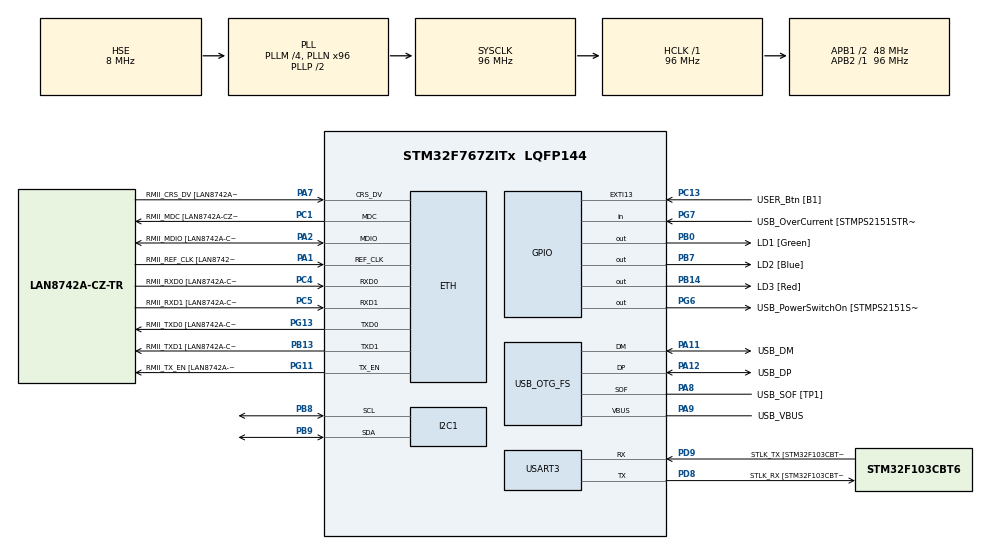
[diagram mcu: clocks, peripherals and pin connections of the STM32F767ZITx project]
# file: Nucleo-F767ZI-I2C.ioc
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ETH.MediaInterface=ETH_MEDIA_INTERFACE_RMII
ETH.PHY_Name=LAN8742A_PHY_ADDRESS
ETH.PHY_Value=0
ETH.PhyAddress=0
I2C1.Timing=0x20303E5D
Mcu.Family=STM32F7
Mcu.Name=STM32F767ZITx
Mcu.Package=LQFP144
NVIC.PriorityGroup=NVIC_PRIORITYGROUP_4
PA1.GPIO_Label=RMII_REF_CLK [LAN8742A-CZ-TR_REFCLK0]
PA1.Mode=RMII
PA1.Signal=ETH_REF_CLK
PA10.GPIO_Label=USB_ID
PA10.Signal=USB_OTG_FS_ID
PA11.GPIO_Label=USB_DM
PA11.Mode=Device_Only
PA11.Signal=USB_OTG_FS_DM
PA12.GPIO_Label=USB_DP
PA12.Mode=Device_Only
PA12.Signal=USB_OTG_FS_DP
PA13.GPIO_Label=TMS
PA13.Mode=Serial_Wire
PA13.Signal=SYS_JTMS-SWDIO
PA14.GPIO_Label=TCK
PA14.Mode=Serial_Wire
PA14.Signal=SYS_JTCK-SWCLK
PA2.GPIO_Label=RMII_MDIO [LAN8742A-CZ-TR_MDIO]
PA2.Mode=RMII
PA2.Signal=ETH_MDIO
PA7.GPIO_Label=RMII_CRS_DV [LAN8742A-CZ-TR_CRS_DV]
PA7.Mode=RMII
PA7.Signal=ETH_CRS_DV
PA8.GPIO_Label=USB_SOF [TP1]
PA8.Mode=Activate_SOF_FS
PA8.Signal=USB_OTG_FS_SOF
PA9.GPIO_Label=USB_VBUS
PA9.Mode=Activate_VBUS
PA9.Signal=USB_OTG_FS_VBUS
PB0.GPIO_Label=LD1 [Green]
PB0.Signal=GPIO_Output
PB13.GPIO_Label=RMII_TXD1 [LAN8742A-CZ-TR_TXD1]
PB13.Mode=RMII
PB13.Signal=ETH_TXD1
PB14.GPIO_Label=LD3 [Red]
PB14.Signal=GPIO_Output
PB3.GPIO_Label=SWO
PB3.Signal=SYS_JTDO-SWO
PB7.GPIO_Label=LD2 [Blue]
PB7.Signal=GPIO_Output
PB8.Mode=I2C
PB8.Signal=I2C1_SCL
PB9.Mode=I2C
PB9.Signal=I2C1_SDA
PC1.GPIO_Label=RMII_MDC [LAN8742A-CZ-TR_MDC]
PC1.Mode=RMII
PC1.Signal=ETH_MDC
PC13.GPIO_Label=USER_Btn [B1]
PC13.Signal=GPXTI13
PC14/OSC32_IN.Mode=LSE-External-Oscillator
PC14/OSC32_IN.Signal=RCC_OSC32_IN
PC15/OSC32_OUT.Mode=LSE-External-Oscillator
PC15/OSC32_OUT.Signal=RCC_OSC32_OUT
PC4.GPIO_Label=RMII_RXD0 [LAN8742A-CZ-TR_RXD0]
PC4.Mode=RMII
PC4.Signal=ETH_RXD0
PC5.GPIO_Label=RMII_RXD1 [LAN8742A-CZ-TR_RXD1]
PC5.Mode=RMII
PC5.Signal=ETH_RXD1
PD8.GPIO_Label=STLK_RX [STM32F103CBT6_PA3]
PD8.Mode=Asynchronous
PD8.Signal=USART3_TX
PD9.GPIO_Label=STLK_TX [STM32F103CBT6_PA2]
PD9.Mode=Asynchronous
PD9.Signal=USART3_RX
PG11.GPIO_Label=RMII_TX_EN [LAN8742A-CZ-TR_TXEN]
PG11.Mode=RMII
PG11.Signal=ETH_TX_EN
PG13.GPIO_Label=RMII_TXD0 [LAN8742A-CZ-TR_TXD0]
PG13.Mode=RMII
PG13.Signal=ETH_TXD0
PG6.GPIO_Label=USB_PowerSwitchOn [STMPS2151STR_EN]
PG6.Signal=GPIO_Output
PG7.GPIO_Label=USB_OverCurrent [STMPS2151STR_FAULT]
PG7.Signal=GPIO_Input
PH0/OSC_IN.GPIO_Label=MCO [STM32F103CBT6_PA8]
PH0/OSC_IN.Mode=HSE-External-Clock-Source
PH0/OSC_IN.Signal=RCC_OSC_IN
PH1/OSC_OUT.Mode=HSE-External-Clock-Source
PH1/OSC_OUT.Signal=RCC_OSC_OUT
ProjectManager.HeapSize=0x200
ProjectManager.StackSize=0x400
ProjectManager.TargetToolchain=STM32CubeIDE
RCC.48MHZClocksFreq_Value=24000000
RCC.AHBFreq_Value=96000000
RCC.APB1CLKDivider=RCC_HCLK_DIV2
RCC.APB1Freq_Value=48000000
RCC.APB1TimFreq_Value=96000000
RCC.APB2Freq_Value=96000000
RCC.APB2TimFreq_Value=96000000
RCC.CortexFreq_Value=96000000
RCC.HCLKFreq_Value=96000000
RCC.HSE_VALUE=8000000
RCC.HSI_VALUE=16000000
RCC.PLLM=4
RCC.PLLMUL=RCC_PLL_MUL9
RCC.PLLN=96
RCC.PLLQ=4
RCC.PRESCALERUSB=RCC_USBCLKSOURCE_PLL_DIV1_5
RCC.SYSCLKFreq_VALUE=96000000
RCC.SYSCLKSource=RCC_SYSCLKSOURCE_PLLCLK
RCC.SYSCLKSourceVirtual=RCC_SYSCLKSOURCE_PLLCLK
RCC.USBFreq_Value=48000000
RCC.VCOOutputFreq_Value=192000000
USART3.VirtualMode-Asynchronous=VM_ASYNC
USB_OTG_FS.VirtualMode=Device_Only
board=NUCLEO-F767ZI

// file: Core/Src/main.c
/* USER CODE BEGIN Header */
/**
  ******************************************************************************
  * @file           : main.c
  * @brief          : Main program body
  ******************************************************************************
  * @attention
  *
  * <h2><center>&copy; Copyright (c) 2020 STMicroelectronics.
  * All rights reserved.</center></h2>
  *
  * This software component is licensed by ST under BSD 3-Clause license,
  * the "License"; You may not use this file except in compliance with the
  * License. You may obtain a copy of the License at:
  *                        opensource.org/licenses/BSD-3-Clause
  *
  ******************************************************************************
  */
/* USER CODE END Header */

#include "main.h"

ETH_HandleTypeDef heth;

I2C_HandleTypeDef hi2c1;

UART_HandleTypeDef huart3;

PCD_HandleTypeDef hpcd_USB_OTG_FS;

/* USER CODE BEGIN PV */
static const uint8_t EEPROM_READ_ADDR = (0x50 << 1) | 1;
static const uint8_t EEPROM_WRITE_ADDR = (0x50 << 1);
/* USER CODE END PV */

void SystemClock_Config(void);
static void MX_GPIO_Init(void);
static void MX_ETH_Init(void);
static void MX_USART3_UART_Init(void);
static void MX_USB_OTG_FS_PCD_Init(void);
static void MX_I2C1_Init(void);

int main(void)
{
  /* USER CODE BEGIN 1 */
	HAL_StatusTypeDef ret;
	uint32_t i2cError;
  /* USER CODE END 1 */

  /* MCU Configuration--------------------------------------------------------*/

  /* Reset of all peripherals, Initializes the Flash interface and the Systick. */
  HAL_Init();

  /* Configure the system clock */
  SystemClock_Config();

  /* Initialize all configured peripherals */
  MX_GPIO_Init();
  MX_ETH_Init();
  MX_USART3_UART_Init();
  MX_USB_OTG_FS_PCD_Init();
  MX_I2C1_Init();
  /* USER CODE BEGIN 2 */

  uint16_t eepromAddress = 0;
  uint8_t addressBytes[2];
  addressBytes[0]= eepromAddress >> 8; // High byte
  addressBytes[1]= eepromAddress & 0xFF; // Low Byte

  uint8_t writeBuf[6];
  writeBuf[0] = addressBytes[0];
  writeBuf[1] = addressBytes[1];
  writeBuf[2] = 0x41;
  writeBuf[3] = 0x42;
  writeBuf[4] = 0x43;
  writeBuf[5] = 0x44;

  ret = HAL_I2C_Master_Transmit(&hi2c1, EEPROM_WRITE_ADDR, writeBuf, 6, HAL_MAX_DELAY);
  if (ret == HAL_ERROR)
	  i2cError = HAL_I2C_GetError(&hi2c1);

  /* USER CODE END 2 */

  /* Infinite loop */
  /* USER CODE BEGIN WHILE */
  while (1)
  {
	  HAL_I2C_ModeTypeDef mode = HAL_I2C_GetMode(&hi2c1);
	  HAL_I2C_StateTypeDef state = HAL_I2C_GetState(&hi2c1);

	  ret = HAL_I2C_Master_Transmit(&hi2c1, EEPROM_WRITE_ADDR, addressBytes, 2, HAL_MAX_DELAY);
	  if (ret == HAL_ERROR)
		  i2cError = HAL_I2C_GetError(&hi2c1);

	  uint8_t buf[32];
	  ret = HAL_I2C_Master_Receive(&hi2c1, EEPROM_READ_ADDR, buf, 32, 1000);
	  if (ret == HAL_ERROR)
		  i2cError = HAL_I2C_GetError(&hi2c1);

	  HAL_Delay(1000);

	  HAL_GPIO_TogglePin(GPIOB, LD2_Pin);
    /* USER CODE END WHILE */

  }
}

void SystemClock_Config(void)
{
  RCC_OscInitTypeDef RCC_OscInitStruct = {0};
  RCC_ClkInitTypeDef RCC_ClkInitStruct = {0};
  RCC_PeriphCLKInitTypeDef PeriphClkInitStruct = {0};

  /** Configure LSE Drive Capability
  */
  HAL_PWR_EnableBkUpAccess();
  /** Configure the main internal regulator output voltage
  */
  __HAL_RCC_PWR_CLK_ENABLE();
  __HAL_PWR_VOLTAGESCALING_CONFIG(PWR_REGULATOR_VOLTAGE_SCALE3);
  /** Initializes the CPU, AHB and APB busses clocks
  */
  RCC_OscInitStruct.OscillatorType = RCC_OSCILLATORTYPE_HSE;
  RCC_OscInitStruct.HSEState = RCC_HSE_BYPASS;
  RCC_OscInitStruct.PLL.PLLState = RCC_PLL_ON;
  RCC_OscInitStruct.PLL.PLLSource = RCC_PLLSOURCE_HSE;
  RCC_OscInitStruct.PLL.PLLM = 4;
  RCC_OscInitStruct.PLL.PLLN = 96;
  RCC_OscInitStruct.PLL.PLLP = RCC_PLLP_DIV2;
  RCC_OscInitStruct.PLL.PLLQ = 4;
  if (HAL_RCC_OscConfig(&RCC_OscInitStruct) != HAL_OK)
  {
    Error_Handler();
  }
  /** Activate the Over-Drive mode
  */
  if (HAL_PWREx_EnableOverDrive() != HAL_OK)
  {
    Error_Handler();
  }
  /** Initializes the CPU, AHB and APB busses clocks
  */
  RCC_ClkInitStruct.ClockType = RCC_CLOCKTYPE_HCLK|RCC_CLOCKTYPE_SYSCLK
                              |RCC_CLOCKTYPE_PCLK1|RCC_CLOCKTYPE_PCLK2;
  RCC_ClkInitStruct.SYSCLKSource = RCC_SYSCLKSOURCE_PLLCLK;
  RCC_ClkInitStruct.AHBCLKDivider = RCC_SYSCLK_DIV1;
  RCC_ClkInitStruct.APB1CLKDivider = RCC_HCLK_DIV2;
  RCC_ClkInitStruct.APB2CLKDivider = RCC_HCLK_DIV1;

  if (HAL_RCC_ClockConfig(&RCC_ClkInitStruct, FLASH_LATENCY_3) != HAL_OK)
  {
    Error_Handler();
  }
  PeriphClkInitStruct.PeriphClockSelection = RCC_PERIPHCLK_USART3|RCC_PERIPHCLK_I2C1
                              |RCC_PERIPHCLK_CLK48;
  PeriphClkInitStruct.Usart3ClockSelection = RCC_USART3CLKSOURCE_PCLK1;
  PeriphClkInitStruct.I2c1ClockSelection = RCC_I2C1CLKSOURCE_PCLK1;
  PeriphClkInitStruct.Clk48ClockSelection = RCC_CLK48SOURCE_PLL;
  if (HAL_RCCEx_PeriphCLKConfig(&PeriphClkInitStruct) != HAL_OK)
  {
    Error_Handler();
  }
}

static void MX_ETH_Init(void)
{

  heth.Instance = ETH;
  heth.Init.AutoNegotiation = ETH_AUTONEGOTIATION_ENABLE;
  heth.Init.PhyAddress = LAN8742A_PHY_ADDRESS;
  heth.Init.MACAddr[0] =   0x00;
  heth.Init.MACAddr[1] =   0x80;
  heth.Init.MACAddr[2] =   0xE1;
  heth.Init.MACAddr[3] =   0x00;
  heth.Init.MACAddr[4] =   0x00;
  heth.Init.MACAddr[5] =   0x00;
  heth.Init.RxMode = ETH_RXPOLLING_MODE;
  heth.Init.ChecksumMode = ETH_CHECKSUM_BY_HARDWARE;
  heth.Init.MediaInterface = ETH_MEDIA_INTERFACE_RMII;

  if (HAL_ETH_Init(&heth) != HAL_OK)
  {
    Error_Handler();
  }

}

static void MX_I2C1_Init(void)
{

  hi2c1.Instance = I2C1;
  hi2c1.Init.Timing = 0x20303E5D;
  hi2c1.Init.OwnAddress1 = 0;
  hi2c1.Init.AddressingMode = I2C_ADDRESSINGMODE_7BIT;
  hi2c1.Init.DualAddressMode = I2C_DUALADDRESS_DISABLE;
  hi2c1.Init.OwnAddress2 = 0;
  hi2c1.Init.OwnAddress2Masks = I2C_OA2_NOMASK;
  hi2c1.Init.GeneralCallMode = I2C_GENERALCALL_DISABLE;
  hi2c1.Init.NoStretchMode = I2C_NOSTRETCH_DISABLE;
  if (HAL_I2C_Init(&hi2c1) != HAL_OK)
  {
    Error_Handler();
  }
  /** Configure Analogue filter
  */
  if (HAL_I2CEx_ConfigAnalogFilter(&hi2c1, I2C_ANALOGFILTER_ENABLE) != HAL_OK)
  {
    Error_Handler();
  }
  /** Configure Digital filter
  */
  if (HAL_I2CEx_ConfigDigitalFilter(&hi2c1, 0) != HAL_OK)
  {
    Error_Handler();
  }

}

static void MX_USART3_UART_Init(void)
{

  huart3.Instance = USART3;
  huart3.Init.BaudRate = 115200;
  huart3.Init.WordLength = UART_WORDLENGTH_8B;
  huart3.Init.StopBits = UART_STOPBITS_1;
  huart3.Init.Parity = UART_PARITY_NONE;
  huart3.Init.Mode = UART_MODE_TX_RX;
  huart3.Init.HwFlowCtl = UART_HWCONTROL_NONE;
  huart3.Init.OverSampling = UART_OVERSAMPLING_16;
  huart3.Init.OneBitSampling = UART_ONE_BIT_SAMPLE_DISABLE;
  huart3.AdvancedInit.AdvFeatureInit = UART_ADVFEATURE_NO_INIT;
  if (HAL_UART_Init(&huart3) != HAL_OK)
  {
    Error_Handler();
  }

}

static void MX_USB_OTG_FS_PCD_Init(void)
{

  hpcd_USB_OTG_FS.Instance = USB_OTG_FS;
  hpcd_USB_OTG_FS.Init.dev_endpoints = 6;
  hpcd_USB_OTG_FS.Init.speed = PCD_SPEED_FULL;
  hpcd_USB_OTG_FS.Init.dma_enable = DISABLE;
  hpcd_USB_OTG_FS.Init.phy_itface = PCD_PHY_EMBEDDED;
  hpcd_USB_OTG_FS.Init.Sof_enable = ENABLE;
  hpcd_USB_OTG_FS.Init.low_power_enable = DISABLE;
  hpcd_USB_OTG_FS.Init.lpm_enable = DISABLE;
  hpcd_USB_OTG_FS.Init.vbus_sensing_enable = ENABLE;
  hpcd_USB_OTG_FS.Init.use_dedicated_ep1 = DISABLE;
  if (HAL_PCD_Init(&hpcd_USB_OTG_FS) != HAL_OK)
  {
    Error_Handler();
  }

}

static void MX_GPIO_Init(void)
{
  GPIO_InitTypeDef GPIO_InitStruct = {0};

  /* GPIO Ports Clock Enable */
  __HAL_RCC_GPIOC_CLK_ENABLE();
  __HAL_RCC_GPIOH_CLK_ENABLE();
  __HAL_RCC_GPIOA_CLK_ENABLE();
  __HAL_RCC_GPIOB_CLK_ENABLE();
  __HAL_RCC_GPIOD_CLK_ENABLE();
  __HAL_RCC_GPIOG_CLK_ENABLE();

  /*Configure GPIO pin Output Level */
  HAL_GPIO_WritePin(GPIOB, LD1_Pin|LD3_Pin|LD2_Pin, GPIO_PIN_RESET);

  /*Configure GPIO pin Output Level */
  HAL_GPIO_WritePin(USB_PowerSwitchOn_GPIO_Port, USB_PowerSwitchOn_Pin, GPIO_PIN_RESET);

  /*Configure GPIO pin : USER_Btn_Pin */
  GPIO_InitStruct.Pin = USER_Btn_Pin;
  GPIO_InitStruct.Mode = GPIO_MODE_IT_RISING;
  GPIO_InitStruct.Pull = GPIO_NOPULL;
  HAL_GPIO_Init(USER_Btn_GPIO_Port, &GPIO_InitStruct);

  /*Configure GPIO pins : LD1_Pin LD3_Pin LD2_Pin */
  GPIO_InitStruct.Pin = LD1_Pin|LD3_Pin|LD2_Pin;
  GPIO_InitStruct.Mode = GPIO_MODE_OUTPUT_PP;
  GPIO_InitStruct.Pull = GPIO_NOPULL;
  GPIO_InitStruct.Speed = GPIO_SPEED_FREQ_LOW;
  HAL_GPIO_Init(GPIOB, &GPIO_InitStruct);

  /*Configure GPIO pin : USB_PowerSwitchOn_Pin */
  GPIO_InitStruct.Pin = USB_PowerSwitchOn_Pin;
  GPIO_InitStruct.Mode = GPIO_MODE_OUTPUT_PP;
  GPIO_InitStruct.Pull = GPIO_NOPULL;
  GPIO_InitStruct.Speed = GPIO_SPEED_FREQ_LOW;
  HAL_GPIO_Init(USB_PowerSwitchOn_GPIO_Port, &GPIO_InitStruct);

  /*Configure GPIO pin : USB_OverCurrent_Pin */
  GPIO_InitStruct.Pin = USB_OverCurrent_Pin;
  GPIO_InitStruct.Mode = GPIO_MODE_INPUT;
  GPIO_InitStruct.Pull = GPIO_NOPULL;
  HAL_GPIO_Init(USB_OverCurrent_GPIO_Port, &GPIO_InitStruct);

}

void Error_Handler(void)
{
}

/************************ (C) COPYRIGHT STMicroelectronics *****END OF FILE****/
